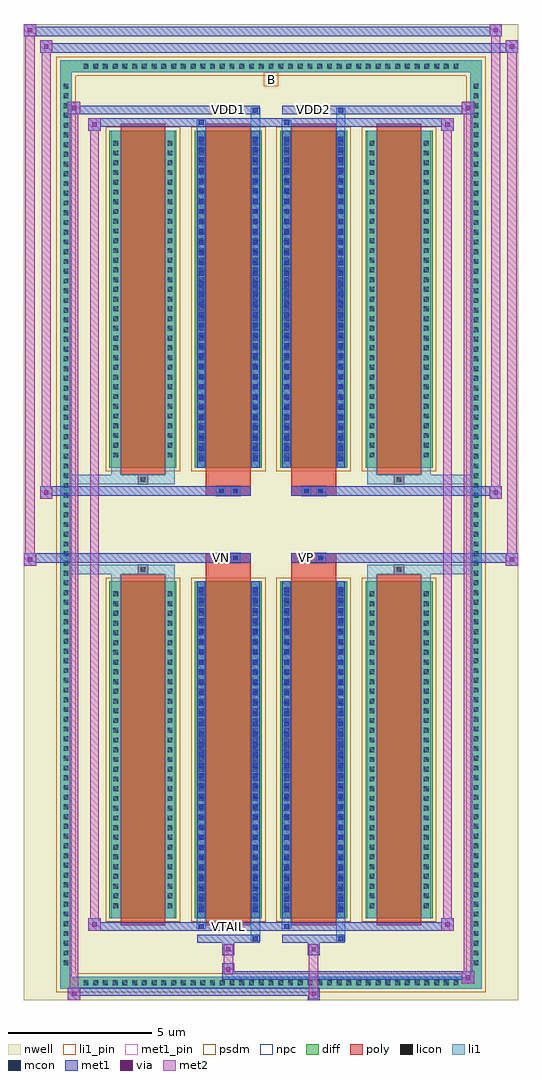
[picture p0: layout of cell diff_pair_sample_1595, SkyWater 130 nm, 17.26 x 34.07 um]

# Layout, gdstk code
import gdstk
lib = gdstk.Library(unit=1e-6, precision=5e-09)
def R(c, l, rs):  # rectangles x0, y0, x1, y1
    for r in rs: c.add(gdstk.rectangle(r[:2], r[2:], *l))
def A(c, l, x, y, w, h, nx, ny, dx, dy):  # array of equal rectangles
    R(c, l, [(x+i*dx, y+j*dy, x+i*dx+w, y+j*dy+h) for i in range(nx) for j in range(ny)])
def P(c, l, *ps):  # polygons
    for p in ps: c.add(gdstk.Polygon(p, *l))
nwell = (64, 20)
diff = (65, 20)
poly = (66, 20)
licon = (66, 44)
li1_pin = (67, 16)
li1 = (67, 20)
mcon = (67, 44)
met1_pin = (68, 16)
met1 = (68, 20)
via = (68, 44)
met2 = (69, 20)
psdm = (94, 20)
npc = (95, 20)

diff_pair_sample_1595 = lib.new_cell('diff_pair_sample_1595')
R(diff_pair_sample_1595, nwell, [(-8.63,-16.6,8.63,17.47), (-5.95,-14.79,-0.01,-0.805), (0.01,-14.79,5.95,-0.805), (-5.95,0.805,-0.01,14.79), (0.01,0.805,5.95,14.79)])
A(diff_pair_sample_1595, diff, -6.665, -16.2, 0.41, 0.41, 39, 2, 0.34, 31.99)
A(diff_pair_sample_1595, diff, -7.36, -15.505, 0.41, 0.41, 1, 91, 0, 0.34)
A(diff_pair_sample_1595, diff, 6.95, -15.505, 0.41, 0.41, 1, 91, 0, 0.34)
A(diff_pair_sample_1595, diff, -5.64, -13.745, 2.34, 11.76, 4, 2, 2.98, 15.73)
R(diff_pair_sample_1595, diff, [(-6.665,-16.2,6.665,-15.79), (-7.36,-15.505,-6.95,15.505), (6.95,-15.505,7.36,15.505), (-6.665,15.79,6.665,16.2)])
P(diff_pair_sample_1595, diff, [(7.36,16.2),(-7.36,16.2),(-7.36,-15.79),(-6.95,-15.79),(-6.95,15.79),(6.95,15.79),(6.95,-15.79),(-6.95,-15.79),(-7.36,-15.79),(-7.36,-16.2),(7.36,-16.2)])
A(diff_pair_sample_1595, poly, -5.25, -13.995, 1.56, 12.26, 4, 2, 2.98, 15.73)
R(diff_pair_sample_1595, poly, [(-4.635,-1.735,-4.305,-1.405), (-4.635,-1.735,-4.305,-1.405), (-2.27,-1.735,-0.71,-1.335), (0.71,-1.735,2.27,-1.335), (4.305,-1.735,4.635,-1.405), (4.305,-1.735,4.635,-1.405), (-2.27,-1.335,-0.71,-1.005), (-1.905,-1.335,-1.575,-1.005), (-1.405,-1.335,-1.075,-1.005), (0.71,-1.335,2.27,-1.005), (1.075,-1.335,1.405,-1.005), (1.575,-1.335,1.905,-1.005), (-2.27,1.005,-0.71,1.335), (-1.905,1.005,-1.575,1.335), (-1.405,1.005,-1.075,1.335), (0.71,1.005,2.27,1.335), (1.075,1.005,1.405,1.335), (1.575,1.005,1.905,1.335), (-2.27,1.335,-0.71,1.735), (0.71,1.335,2.27,1.735), (-4.635,1.405,-4.305,1.735), (-4.635,1.405,-4.305,1.735), (4.305,1.405,4.635,1.735), (4.305,1.405,4.635,1.735)])
A(diff_pair_sample_1595, licon, -6.545, -16.08, 0.17, 0.17, 39, 2, 0.34, 31.99)
A(diff_pair_sample_1595, licon, -7.24, -15.385, 0.17, 0.17, 1, 91, 0, 0.34)
A(diff_pair_sample_1595, licon, 7.07, -15.385, 0.17, 0.17, 1, 91, 0, 0.34)
A(diff_pair_sample_1595, licon, -5.5, -13.39, 0.17, 0.17, 1, 33, 0, 0.34)
A(diff_pair_sample_1595, licon, -3.61, -13.39, 0.17, 0.17, 1, 33, 0, 0.34)
A(diff_pair_sample_1595, licon, -2.52, -13.39, 0.17, 0.17, 1, 33, 0, 0.34)
A(diff_pair_sample_1595, licon, -0.63, -13.39, 0.17, 0.17, 1, 33, 0, 0.34)
A(diff_pair_sample_1595, licon, 0.46, -13.39, 0.17, 0.17, 1, 33, 0, 0.34)
A(diff_pair_sample_1595, licon, 2.35, -13.39, 0.17, 0.17, 1, 33, 0, 0.34)
A(diff_pair_sample_1595, licon, 3.44, -13.39, 0.17, 0.17, 1, 33, 0, 0.34)
A(diff_pair_sample_1595, licon, 5.33, -13.39, 0.17, 0.17, 1, 33, 0, 0.34)
A(diff_pair_sample_1595, licon, -5.5, 2.34, 0.17, 0.17, 1, 33, 0, 0.34)
A(diff_pair_sample_1595, licon, -3.61, 2.34, 0.17, 0.17, 1, 33, 0, 0.34)
A(diff_pair_sample_1595, licon, -2.52, 2.34, 0.17, 0.17, 1, 33, 0, 0.34)
A(diff_pair_sample_1595, licon, -0.63, 2.34, 0.17, 0.17, 1, 33, 0, 0.34)
A(diff_pair_sample_1595, licon, 0.46, 2.34, 0.17, 0.17, 1, 33, 0, 0.34)
A(diff_pair_sample_1595, licon, 2.35, 2.34, 0.17, 0.17, 1, 33, 0, 0.34)
A(diff_pair_sample_1595, licon, 3.44, 2.34, 0.17, 0.17, 1, 33, 0, 0.34)
A(diff_pair_sample_1595, licon, 5.33, 2.34, 0.17, 0.17, 1, 33, 0, 0.34)
R(diff_pair_sample_1595, licon, [(-4.555,-1.655,-4.385,-1.485), (4.385,-1.655,4.555,-1.485), (-1.825,-1.255,-1.655,-1.085), (-1.325,-1.255,-1.155,-1.085), (1.155,-1.255,1.325,-1.085), (1.655,-1.255,1.825,-1.085), (-1.825,1.085,-1.655,1.255), (-1.325,1.085,-1.155,1.255), (1.155,1.085,1.325,1.255), (1.655,1.085,1.825,1.255), (-4.555,1.485,-4.385,1.655), (4.385,1.485,4.555,1.655)])
R(diff_pair_sample_1595, li1_pin, [(-0.25,15.29,0.25,15.79)])
A(diff_pair_sample_1595, li1, -6.625, -16.16, 0.33, 0.33, 39, 2, 0.34, 31.99)
A(diff_pair_sample_1595, li1, -7.32, -15.465, 0.33, 0.33, 1, 91, 0, 0.34)
A(diff_pair_sample_1595, li1, 6.99, -15.465, 0.33, 0.33, 1, 91, 0, 0.34)
A(diff_pair_sample_1595, li1, -2.52, -13.53, 0.17, 0.17, 1, 32, 0, 0.36)
A(diff_pair_sample_1595, li1, -0.63, -13.53, 0.17, 0.17, 1, 32, 0, 0.36)
A(diff_pair_sample_1595, li1, 0.46, -13.53, 0.17, 0.17, 1, 32, 0, 0.36)
A(diff_pair_sample_1595, li1, 2.35, -13.53, 0.17, 0.17, 1, 32, 0, 0.36)
A(diff_pair_sample_1595, li1, -5.58, -13.47, 0.33, 0.33, 1, 33, 0, 0.34)
A(diff_pair_sample_1595, li1, -3.69, -13.47, 0.33, 0.33, 1, 33, 0, 0.34)
A(diff_pair_sample_1595, li1, -2.6, -13.47, 0.33, 0.33, 1, 33, 0, 0.34)
A(diff_pair_sample_1595, li1, -0.71, -13.47, 0.33, 0.33, 1, 33, 0, 0.34)
A(diff_pair_sample_1595, li1, 0.38, -13.47, 0.33, 0.33, 1, 33, 0, 0.34)
A(diff_pair_sample_1595, li1, 2.27, -13.47, 0.33, 0.33, 1, 33, 0, 0.34)
A(diff_pair_sample_1595, li1, 3.36, -13.47, 0.33, 0.33, 1, 33, 0, 0.34)
A(diff_pair_sample_1595, li1, 5.25, -13.47, 0.33, 0.33, 1, 33, 0, 0.34)
A(diff_pair_sample_1595, li1, -2.52, 2.2, 0.17, 0.17, 1, 32, 0, 0.36)
A(diff_pair_sample_1595, li1, -0.63, 2.2, 0.17, 0.17, 1, 32, 0, 0.36)
A(diff_pair_sample_1595, li1, 0.46, 2.2, 0.17, 0.17, 1, 32, 0, 0.36)
A(diff_pair_sample_1595, li1, 2.35, 2.2, 0.17, 0.17, 1, 32, 0, 0.36)
A(diff_pair_sample_1595, li1, -5.58, 2.26, 0.33, 0.33, 1, 33, 0, 0.34)
A(diff_pair_sample_1595, li1, -3.69, 2.26, 0.33, 0.33, 1, 33, 0, 0.34)
A(diff_pair_sample_1595, li1, -2.6, 2.26, 0.33, 0.33, 1, 33, 0, 0.34)
A(diff_pair_sample_1595, li1, -0.71, 2.26, 0.33, 0.33, 1, 33, 0, 0.34)
A(diff_pair_sample_1595, li1, 0.38, 2.26, 0.33, 0.33, 1, 33, 0, 0.34)
A(diff_pair_sample_1595, li1, 2.27, 2.26, 0.33, 0.33, 1, 33, 0, 0.34)
A(diff_pair_sample_1595, li1, 3.36, 2.26, 0.33, 0.33, 1, 33, 0, 0.34)
A(diff_pair_sample_1595, li1, 5.25, 2.26, 0.33, 0.33, 1, 33, 0, 0.34)
R(diff_pair_sample_1595, li1, [(-7.36,-16.2,-6.95,-15.79), (-7.36,-16.2,-6.95,-15.79), (-6.95,-16.2,6.95,-15.79), (6.95,-16.2,7.36,-15.79), (6.95,-16.2,7.36,-15.79), (-7.36,-15.79,-6.95,15.79), (6.95,-15.79,7.36,15.79), (-0.71,-14.55,-0.38,-13.745), (-0.63,-14.55,-0.46,-14.38), (2.27,-14.55,2.6,-13.745), (2.35,-14.55,2.52,-14.38), (-2.6,-14.12,-2.27,-13.745), (-2.52,-14.12,-2.35,-13.95), (0.38,-14.12,0.71,-13.745), (0.46,-14.12,0.63,-13.95), (-5.58,-13.745,-5.25,-1.985), (-3.69,-13.745,-3.36,-1.985), (-2.6,-13.745,-2.27,-1.985), (-0.71,-13.745,-0.38,-1.985), (0.38,-13.745,0.71,-1.985), (2.27,-13.745,2.6,-1.985), (3.36,-13.745,3.69,-1.985), (5.25,-13.745,5.58,-1.985), (-2.52,-13.53,-2.35,-2.2), (-0.63,-13.53,-0.46,-2.2), (0.46,-13.53,0.63,-2.2), (2.35,-13.53,2.52,-2.2), (-5.58,-1.985,-5.25,-1.405), (-3.69,-1.985,-3.36,-1.405), (3.36,-1.985,3.69,-1.405), (5.25,-1.985,5.58,-1.405), (-7.36,-1.735,-4.635,-1.405), (-5.58,-1.735,-4.635,-1.405), (-4.635,-1.735,-4.305,-1.405), (-4.305,-1.735,-3.36,-1.405), (3.36,-1.735,4.305,-1.405), (4.305,-1.735,4.635,-1.405), (4.305,-1.735,7.36,-1.405), (4.635,-1.735,5.58,-1.405), (-1.905,-1.335,-1.575,-1.005), (-1.405,-1.335,-1.075,-1.005), (1.075,-1.335,1.405,-1.005), (1.575,-1.335,1.905,-1.005), (-1.905,1.005,-1.575,1.335), (-1.405,1.005,-1.075,1.335), (1.075,1.005,1.405,1.335), (1.575,1.005,1.905,1.335), (-7.36,1.405,-4.635,1.735), (-5.58,1.405,-4.635,1.735), (-5.58,1.405,-5.25,1.985), (-4.635,1.405,-4.305,1.735), (-4.305,1.405,-3.36,1.735), (-3.69,1.405,-3.36,1.985), (3.36,1.405,4.305,1.735), (3.36,1.405,3.69,1.985), (4.305,1.405,4.635,1.735), (4.305,1.405,7.36,1.735), (4.635,1.405,5.58,1.735), (5.25,1.405,5.58,1.985), (-5.58,1.985,-5.25,13.745), (-3.69,1.985,-3.36,13.745), (-2.6,1.985,-2.27,13.745), (-0.71,1.985,-0.38,13.745), (0.38,1.985,0.71,13.745), (2.27,1.985,2.6,13.745), (3.36,1.985,3.69,13.745), (5.25,1.985,5.58,13.745), (-2.52,2.2,-2.35,13.53), (-0.63,2.2,-0.46,13.53), (0.46,2.2,0.63,13.53), (2.35,2.2,2.52,13.53), (-2.6,13.745,-2.27,14.12), (-0.71,13.745,-0.38,14.55), (0.38,13.745,0.71,14.12), (2.27,13.745,2.6,14.55), (-2.52,13.95,-2.35,14.12), (0.46,13.95,0.63,14.12), (-0.63,14.38,-0.46,14.55), (2.35,14.38,2.52,14.55), (-7.36,15.79,-6.95,16.2), (-7.36,15.79,-6.95,16.2), (-6.95,15.79,6.95,16.2), (6.95,15.79,7.36,16.2), (6.95,15.79,7.36,16.2)])
A(diff_pair_sample_1595, mcon, -2.52, -13.53, 0.17, 0.17, 1, 32, 0, 0.36)
A(diff_pair_sample_1595, mcon, -0.63, -13.53, 0.17, 0.17, 1, 32, 0, 0.36)
A(diff_pair_sample_1595, mcon, 0.46, -13.53, 0.17, 0.17, 1, 32, 0, 0.36)
A(diff_pair_sample_1595, mcon, 2.35, -13.53, 0.17, 0.17, 1, 32, 0, 0.36)
A(diff_pair_sample_1595, mcon, -2.52, 2.2, 0.17, 0.17, 1, 32, 0, 0.36)
A(diff_pair_sample_1595, mcon, -0.63, 2.2, 0.17, 0.17, 1, 32, 0, 0.36)
A(diff_pair_sample_1595, mcon, 0.46, 2.2, 0.17, 0.17, 1, 32, 0, 0.36)
A(diff_pair_sample_1595, mcon, 2.35, 2.2, 0.17, 0.17, 1, 32, 0, 0.36)
R(diff_pair_sample_1595, mcon, [(-0.63,-14.55,-0.46,-14.38), (2.35,-14.55,2.52,-14.38), (-2.52,-14.12,-2.35,-13.95), (0.46,-14.12,0.63,-13.95), (-1.825,-1.255,-1.655,-1.085), (-1.325,-1.255,-1.155,-1.085), (1.155,-1.255,1.325,-1.085), (1.655,-1.255,1.825,-1.085), (-1.825,1.085,-1.655,1.255), (-1.325,1.085,-1.155,1.255), (1.155,1.085,1.325,1.255), (1.655,1.085,1.825,1.255), (-2.52,13.95,-2.35,14.12), (0.46,13.95,0.63,14.12), (-0.63,14.38,-0.46,14.55), (2.35,14.38,2.52,14.55)])
R(diff_pair_sample_1595, met1_pin, [(-1.625,-14.16,-1.355,-13.89), (-1.875,-1.295,-1.605,-1.025), (1.105,-1.295,1.375,-1.025), (-1.625,14.34,-1.355,14.61), (1.355,14.34,1.625,14.61)])
A(diff_pair_sample_1595, met1, -2.58, -13.59, 0.29, 0.29, 1, 32, 0, 0.36)
A(diff_pair_sample_1595, met1, -0.69, -13.59, 0.29, 0.29, 1, 32, 0, 0.36)
A(diff_pair_sample_1595, met1, 0.4, -13.59, 0.29, 0.29, 1, 32, 0, 0.36)
A(diff_pair_sample_1595, met1, 2.29, -13.59, 0.29, 0.29, 1, 32, 0, 0.36)
A(diff_pair_sample_1595, met1, -2.58, 2.14, 0.29, 0.29, 1, 32, 0, 0.36)
A(diff_pair_sample_1595, met1, -0.69, 2.14, 0.29, 0.29, 1, 32, 0, 0.36)
A(diff_pair_sample_1595, met1, 0.4, 2.14, 0.29, 0.29, 1, 32, 0, 0.36)
A(diff_pair_sample_1595, met1, 2.29, 2.14, 0.29, 0.29, 1, 32, 0, 0.36)
R(diff_pair_sample_1595, met1, [(-7.09,-16.6,-6.66,-16.17), (1.275,-16.6,1.705,-16.17), (-7.09,-16.46,1.705,-16.17), (6.66,-16.03,7.09,-15.6), (-1.705,-15.89,7.09,-15.6), (-1.705,-15.75,-1.275,-15.32), (-1.705,-15.04,-1.275,-14.61), (1.275,-15.04,1.705,-14.61), (-2.58,-14.61,-0.4,-14.32), (-0.69,-14.61,-0.4,-14.32), (0.4,-14.61,2.58,-14.32), (2.29,-14.61,2.58,-14.32), (-6.38,-14.18,-5.95,-13.75), (-6.38,-14.18,-2.58,-13.89), (-2.58,-14.18,-2.29,-13.89), (-2.58,-14.18,-0.4,-13.89), (-0.4,-14.18,0.4,-13.89), (0.4,-14.18,0.69,-13.89), (0.4,-14.18,2.58,-13.89), (2.58,-14.18,6.38,-13.89), (5.95,-14.18,6.38,-13.75), (-2.58,-13.745,-2.29,-1.985), (-0.69,-13.745,-0.4,-1.985), (0.4,-13.745,0.69,-1.985), (2.29,-13.745,2.58,-1.985), (-8.63,-1.435,-8.2,-1.005), (8.2,-1.435,8.63,-1.005), (-8.63,-1.335,-0.71,-1.005), (-2.27,-1.335,-0.71,-1.005), (0.71,-1.335,2.27,-1.005), (0.71,-1.335,8.63,-1.005), (-1.885,-1.315,-1.595,-1.025), (-1.385,-1.315,-1.095,-1.025), (1.095,-1.315,1.385,-1.025), (1.595,-1.315,1.885,-1.025), (-8.06,0.905,-7.63,1.335), (7.63,0.905,8.06,1.335), (-8.06,1.005,-2.27,1.335), (-2.27,1.005,-0.71,1.335), (0.71,1.005,2.27,1.335), (2.27,1.005,8.06,1.335), (-1.885,1.025,-1.595,1.315), (-1.385,1.025,-1.095,1.315), (1.095,1.025,1.385,1.315), (1.595,1.025,1.885,1.315), (-2.58,1.985,-2.29,13.745), (-0.69,1.985,-0.4,13.745), (0.4,1.985,0.69,13.745), (2.29,1.985,2.58,13.745), (-6.38,13.75,-5.95,14.18), (5.95,13.75,6.38,14.18), (-6.38,13.89,-2.58,14.18), (-2.58,13.89,-2.29,14.18), (-2.58,13.89,-0.4,14.18), (-0.4,13.89,0.4,14.18), (0.4,13.89,0.69,14.18), (0.4,13.89,2.58,14.18), (2.58,13.89,6.38,14.18), (-7.09,14.32,-6.66,14.75), (-7.09,14.32,-2.58,14.61), (-2.58,14.32,-0.4,14.61), (-0.69,14.32,-0.4,14.61), (0.4,14.32,2.58,14.61), (2.29,14.32,2.58,14.61), (2.58,14.32,7.09,14.61), (6.66,14.32,7.09,14.75), (-8.06,16.47,-7.63,16.9), (-8.06,16.47,-5.95,16.8), (-5.95,16.47,5.95,16.8), (5.95,16.47,8.63,16.8), (8.2,16.47,8.63,16.9), (-8.63,17.04,-8.2,17.47), (-8.63,17.04,-5.95,17.37), (-5.95,17.04,5.95,17.37), (5.95,17.04,8.06,17.37), (7.63,17.04,8.06,17.47)])
R(diff_pair_sample_1595, via, [(-6.95,-16.46,-6.8,-16.31), (1.415,-16.46,1.565,-16.31), (6.8,-15.89,6.95,-15.74), (-1.565,-15.61,-1.415,-15.46), (-1.565,-14.9,-1.415,-14.75), (1.415,-14.9,1.565,-14.75), (-6.24,-14.04,-6.09,-13.89), (6.09,-14.04,6.24,-13.89), (-8.49,-1.295,-8.34,-1.145), (8.34,-1.295,8.49,-1.145), (-7.92,1.045,-7.77,1.195), (7.77,1.045,7.92,1.195), (-6.24,13.89,-6.09,14.04), (6.09,13.89,6.24,14.04), (-6.95,14.46,-6.8,14.61), (6.8,14.46,6.95,14.61), (-7.92,16.61,-7.77,16.76), (8.34,16.61,8.49,16.76), (-8.49,17.18,-8.34,17.33), (7.77,17.18,7.92,17.33)])
R(diff_pair_sample_1595, met2, [(-7.09,-16.6,-6.66,-16.17), (-7.02,-16.6,-6.73,14.75), (-6.73,-16.6,-6.66,-16.17), (-7.04,-16.55,-6.71,-16.22), (1.325,-16.55,1.655,-16.22), (1.325,-16.22,1.655,-14.99), (6.66,-16.03,7.09,-15.6), (6.73,-16.03,7.02,14.75), (7.02,-16.03,7.09,-15.6), (6.71,-15.98,7.04,-15.65), (-1.655,-15.7,-1.325,-15.37), (-1.655,-15.37,-1.325,-14.99), (-1.655,-14.99,-1.325,-14.66), (1.325,-14.99,1.655,-14.66), (-6.38,-14.18,-5.95,-13.75), (-6.31,-14.18,-6.02,14.18), (-6.02,-14.18,-5.95,-13.75), (5.95,-14.18,6.38,-13.75), (6.02,-14.18,6.31,14.18), (6.31,-14.18,6.38,-13.75), (-6.33,-14.13,-6,-13.8), (6,-14.13,6.33,-13.8), (-8.63,-1.435,-8.2,-1.005), (-8.58,-1.435,-8.25,17.47), (-8.25,-1.435,-8.2,-1.005), (8.2,-1.435,8.63,-1.005), (8.25,-1.435,8.58,16.9), (8.58,-1.435,8.63,-1.005), (-8.58,-1.385,-8.25,-1.055), (8.25,-1.385,8.58,-1.055), (-8.06,0.905,-7.63,1.335), (-8.01,0.905,-7.68,16.9), (-7.68,0.905,-7.63,1.335), (7.63,0.905,8.06,1.335), (7.68,0.905,8.01,17.47), (8.01,0.905,8.06,1.335), (-8.01,0.955,-7.68,1.285), (7.68,0.955,8.01,1.285), (-6.38,13.75,-5.95,14.18), (-6.02,13.75,-5.95,14.18), (5.95,13.75,6.38,14.18), (6.31,13.75,6.38,14.18), (-6.33,13.8,-6,14.13), (6,13.8,6.33,14.13), (-7.09,14.32,-6.66,14.75), (-6.73,14.32,-6.66,14.75), (6.66,14.32,7.09,14.75), (7.02,14.32,7.09,14.75), (-7.04,14.37,-6.71,14.7), (6.71,14.37,7.04,14.7), (-8.06,16.47,-7.63,16.9), (-7.68,16.47,-7.63,16.9), (8.2,16.47,8.63,16.9), (8.58,16.47,8.63,16.9), (-8.01,16.52,-7.68,16.85), (8.25,16.52,8.58,16.85), (-8.63,17.04,-8.2,17.47), (-8.25,17.04,-8.2,17.47), (7.63,17.04,8.06,17.47), (8.01,17.04,8.06,17.47), (-8.58,17.09,-8.25,17.42), (7.68,17.09,8.01,17.42)])
A(diff_pair_sample_1595, psdm, -5.77, -13.875, 2.6, 12.02, 4, 2, 2.98, 15.73)
P(diff_pair_sample_1595, psdm, [(7.49,16.33),(-7.49,16.33),(-7.49,-15.66),(-6.82,-15.66),(-6.82,15.66),(6.82,15.66),(6.82,-15.66),(-6.82,-15.66),(-7.49,-15.66),(-7.49,-16.33),(7.49,-16.33)])
R(diff_pair_sample_1595, npc, [(-4.655,-1.755,-4.285,-1.385), (4.285,-1.755,4.655,-1.385), (-1.925,-1.355,-1.555,-0.985), (-1.925,-1.355,-1.055,-0.985), (-1.925,-1.355,-1.055,-0.985), (-1.425,-1.355,-1.055,-0.985), (1.055,-1.355,1.425,-0.985), (1.055,-1.355,1.925,-0.985), (1.055,-1.355,1.925,-0.985), (1.555,-1.355,1.925,-0.985), (-1.925,0.985,-1.555,1.355), (-1.925,0.985,-1.055,1.355), (-1.925,0.985,-1.055,1.355), (-1.425,0.985,-1.055,1.355), (1.055,0.985,1.425,1.355), (1.055,0.985,1.925,1.355), (1.055,0.985,1.925,1.355), (1.555,0.985,1.925,1.355), (-4.655,1.385,-4.285,1.755), (4.285,1.385,4.655,1.755)])
diff_pair_sample_1595.add(gdstk.Label('VTAIL', (-1.49,-14.025), layer=68, texttype=5))
diff_pair_sample_1595.add(gdstk.Label('VN', (-1.74,-1.16), layer=68, texttype=5))
diff_pair_sample_1595.add(gdstk.Label('VP', (1.24,-1.16), layer=68, texttype=5))
diff_pair_sample_1595.add(gdstk.Label('B', (0,15.54), layer=67, texttype=5))
diff_pair_sample_1595.add(gdstk.Label('VDD2', (1.49,14.475), layer=68, texttype=5))
diff_pair_sample_1595.add(gdstk.Label('VDD1', (-1.49,14.475), layer=68, texttype=5))

lib.write_gds('diff_pair_sample_1595.gds')
